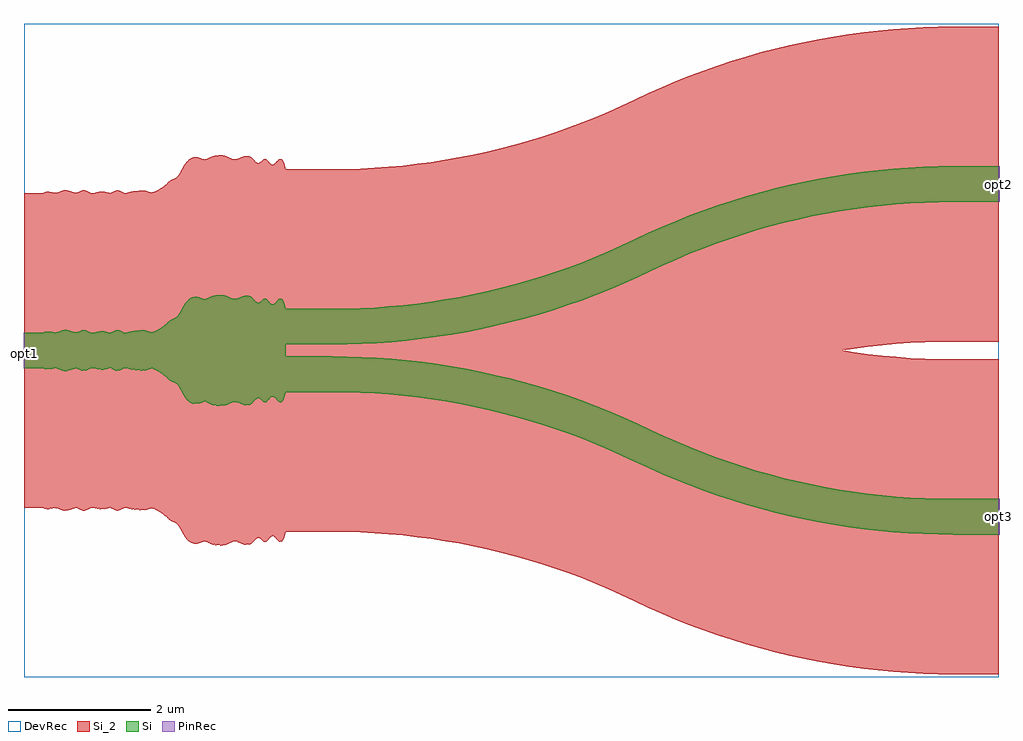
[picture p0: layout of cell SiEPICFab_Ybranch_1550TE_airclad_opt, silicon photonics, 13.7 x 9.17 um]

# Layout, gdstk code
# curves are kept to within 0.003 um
import gdstk
lib = gdstk.Library(unit=1e-6, precision=1e-09)
def R(c, l, rs):  # rectangles x0, y0, x1, y1
    for r in rs: c.add(gdstk.rectangle(r[:2], r[2:], *l))
def P(c, l, *ps):  # polygons
    for p in ps: c.add(gdstk.Polygon(p, *l))
Si = (1, 0)
Si_2 = (1, 2)
PinRec = (1, 10)
DevRec = (68, 0)

siepicfab_ybranch_1550te = lib.new_cell('SiEPICFab_Ybranch_1550TE_airclad_opt')
P(siepicfab_ybranch_1550te, Si, [(11.069,-2.584),(10.859,-2.582),(10.439,-2.565),(10.229,-2.55),(9.811,-2.507),(9.603,-2.479),(9.188,-2.41),(8.777,-2.324),(8.369,-2.222),(7.966,-2.103),(7.569,-1.968),(7.372,-1.894),(6.983,-1.734),(6.791,-1.649),(6.42,-1.474),(6.054,-1.314),(5.681,-1.17),(5.492,-1.104),(5.302,-1.041),(4.919,-0.928),(4.531,-0.831),(4.14,-0.749),(3.745,-0.684),(3.547,-0.658),(3.349,-0.635),(2.95,-0.602),(2.551,-0.586),(1.701,-0.584),(1.665,-0.695),(1.649,-0.718),(1.632,-0.728),(1.603,-0.718),(1.534,-0.65),(1.512,-0.645),(1.489,-0.658),(1.451,-0.701),(1.422,-0.726),(1.397,-0.724),(1.338,-0.674),(1.309,-0.668),(1.285,-0.682),(1.222,-0.746),(1.194,-0.762),(1.17,-0.768),(1.128,-0.766),(1.042,-0.732),(0.993,-0.722),(0.948,-0.726),(0.85,-0.77),(0.798,-0.778),(0.699,-0.77),(0.651,-0.754),(0.611,-0.732),(0.576,-0.72),(0.539,-0.722),(0.459,-0.75),(0.417,-0.75),(0.393,-0.744),(0.356,-0.726),(0.313,-0.689),(0.269,-0.626),(0.208,-0.514),(0.184,-0.482),(0.164,-0.464),(0.069,-0.414),(-0.044,-0.316),(-0.113,-0.276),(-0.158,-0.258),(-0.201,-0.256),(-0.285,-0.284),(-0.325,-0.284),(-0.458,-0.268),(-0.526,-0.249),(-0.57,-0.249),(-0.634,-0.28),(-0.668,-0.286),(-0.728,-0.258),(-0.76,-0.249),(-0.794,-0.251),(-0.856,-0.268),(-0.912,-0.266),(-0.976,-0.249),(-1.038,-0.249),(-1.108,-0.282),(-1.146,-0.286),(-1.22,-0.254),(-1.254,-0.252),(-1.37,-0.286),(-1.4,-0.288),(-1.427,-0.284),(-1.499,-0.254),(-1.528,-0.25),(-1.626,-0.266),(-1.662,-0.264),(-1.696,-0.25),(-1.97,-0.25),(-1.97,0.25),(-1.698,0.25),(-1.658,0.266),(-1.62,0.266),(-1.528,0.251),(-1.499,0.255),(-1.433,0.282),(-1.4,0.288),(-1.352,0.282),(-1.282,0.258),(-1.254,0.253),(-1.22,0.255),(-1.146,0.286),(-1.106,0.282),(-1.038,0.25),(-0.976,0.25),(-0.936,0.262),(-0.884,0.27),(-0.849,0.268),(-0.794,0.252),(-0.76,0.25),(-0.738,0.255),(-0.694,0.278),(-0.668,0.286),(-0.636,0.282),(-0.57,0.25),(-0.526,0.25),(-0.454,0.27),(-0.33,0.284),(-0.285,0.284),(-0.206,0.258),(-0.163,0.258),(-0.123,0.272),(-0.044,0.317),(0.083,0.424),(0.15,0.455),(0.178,0.476),(0.21,0.518),(0.266,0.622),(0.311,0.687),(0.361,0.73),(0.421,0.752),(0.455,0.752),(0.543,0.722),(0.571,0.72),(0.6,0.728),(0.649,0.754),(0.695,0.77),(0.76,0.778),(0.818,0.778),(0.853,0.77),(0.945,0.728),(1.004,0.724),(1.045,0.734),(1.124,0.766),(1.166,0.77),(1.191,0.764),(1.218,0.75),(1.285,0.683),(1.309,0.669),(1.338,0.675),(1.395,0.724),(1.418,0.728),(1.441,0.712),(1.489,0.659),(1.512,0.646),(1.526,0.647),(1.543,0.658),(1.599,0.716),(1.621,0.728),(1.634,0.728),(1.653,0.714),(1.67,0.685),(1.701,0.585),(2.551,0.587),(2.95,0.603),(3.349,0.636),(3.745,0.685),(3.943,0.716),(4.336,0.789),(4.726,0.879),(5.111,0.984),(5.492,1.105),(5.681,1.171),(6.054,1.315),(6.42,1.475),(6.791,1.65),(6.983,1.735),(7.372,1.895),(7.569,1.969),(7.966,2.104),(8.167,2.166),(8.573,2.276),(8.777,2.325),(9.188,2.411),(9.603,2.48),(10.02,2.531),(10.439,2.566),(10.859,2.583),(11.71,2.585),(11.71,2.085),(11.069,2.085),(10.669,2.077),(10.47,2.067),(10.071,2.034),(9.675,1.985),(9.28,1.92),(9.084,1.881),(8.694,1.791),(8.501,1.741),(8.118,1.628),(7.739,1.499),(7.552,1.429),(7.182,1.277),(6.437,0.935),(6.048,0.775),(5.851,0.701),(5.454,0.566),(5.253,0.504),(4.847,0.394),(4.438,0.3),(4.232,0.259),(3.817,0.19),(3.609,0.162),(3.191,0.119),(2.981,0.104),(2.561,0.087),(1.7,0.084),(1.7,-0.084),(2.561,-0.086),(2.981,-0.103),(3.4,-0.138),(3.817,-0.189),(4.232,-0.258),(4.643,-0.344),(5.051,-0.446),(5.454,-0.565),(5.851,-0.7),(6.048,-0.774),(6.437,-0.934),(7.182,-1.276),(7.366,-1.354),(7.739,-1.498),(8.118,-1.627),(8.501,-1.74),(8.889,-1.837),(9.084,-1.88),(9.28,-1.919),(9.675,-1.984),(10.071,-2.033),(10.27,-2.051),(10.47,-2.066),(10.869,-2.082),(11.71,-2.084),(11.71,-2.584)])
P(siepicfab_ybranch_1550te, Si_2, [(11.069,-4.544),(10.859,-4.542),(10.439,-4.525),(10.229,-4.51),(9.811,-4.467),(9.603,-4.439),(9.188,-4.37),(8.777,-4.284),(8.369,-4.182),(7.966,-4.063),(7.569,-3.928),(7.372,-3.854),(6.983,-3.694),(6.791,-3.609),(6.42,-3.434),(6.054,-3.274),(5.681,-3.13),(5.492,-3.064),(5.302,-3.001),(4.919,-2.888),(4.531,-2.791),(4.14,-2.709),(3.745,-2.644),(3.547,-2.618),(3.349,-2.595),(2.95,-2.562),(2.551,-2.546),(1.701,-2.544),(1.665,-2.655),(1.649,-2.678),(1.632,-2.688),(1.603,-2.678),(1.534,-2.61),(1.512,-2.605),(1.489,-2.618),(1.451,-2.661),(1.422,-2.686),(1.397,-2.684),(1.338,-2.634),(1.309,-2.628),(1.285,-2.642),(1.222,-2.706),(1.194,-2.722),(1.17,-2.728),(1.128,-2.726),(1.042,-2.692),(0.993,-2.682),(0.948,-2.686),(0.85,-2.73),(0.798,-2.738),(0.699,-2.73),(0.651,-2.714),(0.611,-2.692),(0.576,-2.68),(0.539,-2.682),(0.459,-2.71),(0.417,-2.71),(0.393,-2.704),(0.356,-2.686),(0.313,-2.649),(0.269,-2.586),(0.208,-2.474),(0.184,-2.442),(0.164,-2.424),(0.069,-2.374),(-0.044,-2.276),(-0.113,-2.236),(-0.158,-2.218),(-0.201,-2.216),(-0.285,-2.244),(-0.325,-2.244),(-0.458,-2.228),(-0.526,-2.209),(-0.57,-2.209),(-0.634,-2.24),(-0.668,-2.246),(-0.728,-2.218),(-0.76,-2.209),(-0.794,-2.211),(-0.856,-2.228),(-0.912,-2.226),(-0.976,-2.209),(-1.038,-2.209),(-1.108,-2.242),(-1.146,-2.246),(-1.22,-2.214),(-1.254,-2.212),(-1.37,-2.246),(-1.4,-2.248),(-1.427,-2.244),(-1.499,-2.214),(-1.528,-2.21),(-1.626,-2.226),(-1.662,-2.224),(-1.696,-2.21),(-1.97,-2.21),(-1.97,2.21),(-1.698,2.21),(-1.658,2.226),(-1.62,2.226),(-1.528,2.211),(-1.499,2.215),(-1.433,2.242),(-1.4,2.248),(-1.352,2.242),(-1.282,2.218),(-1.254,2.213),(-1.22,2.215),(-1.146,2.246),(-1.106,2.242),(-1.038,2.21),(-0.976,2.21),(-0.936,2.222),(-0.884,2.23),(-0.849,2.228),(-0.794,2.212),(-0.76,2.21),(-0.738,2.215),(-0.694,2.238),(-0.668,2.246),(-0.636,2.242),(-0.57,2.21),(-0.526,2.21),(-0.454,2.23),(-0.33,2.244),(-0.285,2.244),(-0.206,2.218),(-0.163,2.218),(-0.123,2.232),(-0.044,2.277),(0.083,2.384),(0.15,2.415),(0.178,2.436),(0.21,2.478),(0.266,2.582),(0.311,2.647),(0.361,2.69),(0.421,2.712),(0.455,2.712),(0.543,2.682),(0.571,2.68),(0.6,2.688),(0.649,2.714),(0.695,2.73),(0.76,2.738),(0.818,2.738),(0.853,2.73),(0.945,2.688),(1.004,2.684),(1.045,2.694),(1.124,2.726),(1.166,2.73),(1.191,2.724),(1.218,2.71),(1.285,2.643),(1.309,2.629),(1.338,2.635),(1.395,2.684),(1.418,2.688),(1.441,2.672),(1.489,2.619),(1.512,2.606),(1.526,2.607),(1.543,2.618),(1.599,2.676),(1.621,2.688),(1.634,2.688),(1.653,2.674),(1.67,2.645),(1.701,2.545),(2.551,2.547),(2.95,2.563),(3.349,2.596),(3.745,2.645),(3.943,2.676),(4.336,2.749),(4.726,2.839),(5.111,2.944),(5.492,3.065),(5.681,3.131),(6.054,3.275),(6.42,3.435),(6.791,3.61),(6.983,3.695),(7.372,3.855),(7.569,3.929),(7.966,4.064),(8.167,4.126),(8.573,4.236),(8.777,4.285),(9.188,4.371),(9.603,4.44),(10.02,4.491),(10.439,4.526),(10.859,4.543),(11.71,4.545),(11.71,0.125),(10.869,0.123),(10.47,0.107),(10.071,0.074),(9.675,0.025),(9.519,0),(9.675,-0.024),(10.071,-0.073),(10.47,-0.106),(10.869,-0.122),(11.71,-0.124),(11.71,-4.544)])
R(siepicfab_ybranch_1550te, DevRec, [(-1.97,-4.585,11.71,4.585)])
siepicfab_ybranch_1550te.add(gdstk.FlexPath([(-1.96,0),(-1.98,0)], 0.5, ends="flush", simple_path=True, layer=1, datatype=10))  # PinRec
siepicfab_ybranch_1550te.add(gdstk.FlexPath([(11.7,2.335),(11.72,2.335)], 0.5, ends="flush", simple_path=True, layer=1, datatype=10))  # PinRec
siepicfab_ybranch_1550te.add(gdstk.FlexPath([(11.7,-2.334),(11.72,-2.334)], 0.5, ends="flush", simple_path=True, layer=1, datatype=10))  # PinRec
siepicfab_ybranch_1550te.add(gdstk.Label('opt2', (11.71,2.335), layer=1, texttype=10))
siepicfab_ybranch_1550te.add(gdstk.Label('opt3', (11.71,-2.334), layer=1, texttype=10))
siepicfab_ybranch_1550te.add(gdstk.Label('opt1', (-1.97,-0.04), layer=1, texttype=10))

lib.write_gds('SiEPICFab_Ybranch_1550TE_airclad_opt.gds')
